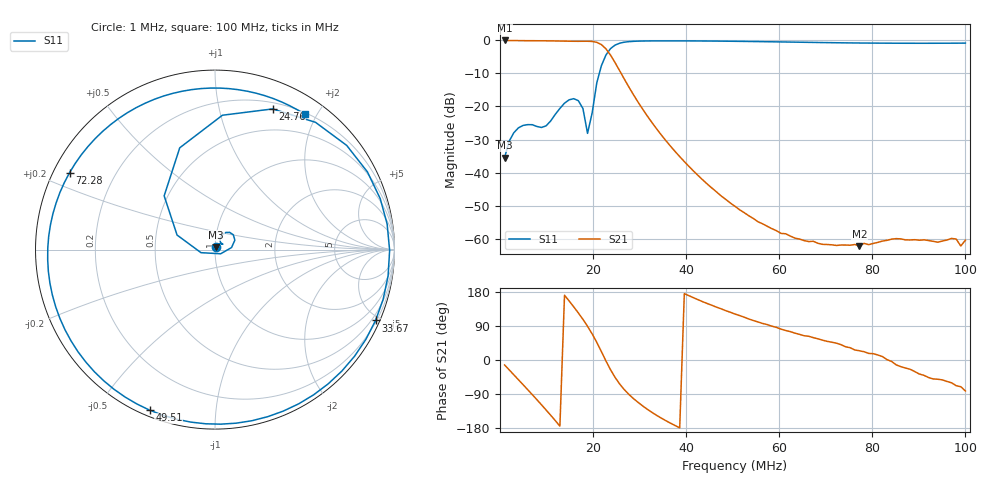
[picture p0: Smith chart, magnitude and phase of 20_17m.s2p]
# HZ S RI R 50
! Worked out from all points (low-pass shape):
!   101 points, 1 MHz to 100 MHz, reference 50 ohm
!   highest |S21| = -0.06 dB at 1 MHz (marker M1); lowest = -62.2 dB at 77.23 MHz (marker M2)
!   |S21| within 3 dB of the highest: start of sweep to 23.02 MHz
!   lowest |S11| = -35.4 dB at 1 MHz (marker M3), VSWR 1.03, Z = 50.7 + j1.56 ohm
!   |S11| at or under -10 dB: start of sweep to 21.35 MHz
!   S12 and S22 are empty: the file has one direction only
!   S11 on the Smith chart (normalised r, x): 1 MHz: 1.01, +0.03; 24.76 MHz: 0.26, +1.46; 33.67 MHz: 0.26, -4.73; 49.51 MHz: 0.03, -0.67; 72.28 MHz: 0.05, +0.25; 100 MHz: 0.22, +1.84
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1000000  0.0071 0.0154  0.9665 -0.2262  0 0  0 0
4960000  0.0392 0.0337  0.4158 -0.8935  0 0  0 0
7930000  0.0402 0.0295  -0.2487 -0.9502  0 0  0 0
1.288e7  0.042 0.0835  -0.968 -0.0946  0 0  0 0
1.486e7  0.0816 0.096  -0.8824 0.3958  0 0  0 0
1.783e7  0.0923 0.0116  -0.2854 0.9223  0 0  0 0
1.882e7  0.0316 -0.0233  0.0184 0.9656  0 0  0 0
2.179e7  -0.2833 0.2995  0.796 0.3259  0 0  0 0
2.377e7  0.0412 0.7486  0.5346 -0.2605  0 0  0 0
2.476e7  0.321 0.7838  0.3143 -0.3305  0 0  0 0
2.872e7  0.9207 0.2837  -0.0315 -0.1457  0 0  0 0
3.367e7  0.8946 -0.3947  -0.0381 -0.0256  0 0  0 0
3.466e7  0.8404 -0.5004  -0.0333 -0.0167  0 0  0 0
4.159e7  0.2931 -0.931  -0.0102 0.00286  0 0  0 0
4.951e7  -0.3645 -0.8944  -0.00204 0.00282  0 0  0 0
5.05e7  -0.4345 -0.8605  -0.00161 0.00266  0 0  0 0
5.941e7  -0.8643 -0.3831  9.35e-05 0.00133  0 0  0 0
6.733e7  -0.9169 0.1373  0.000474 0.00079  0 0  0 0
7.228e7  -0.8106 0.4279  0.000569 0.000558  0 0  0 0
7.723e7  -0.6253 0.6593  0.000708 0.000321  0 0  0 0
8.416e7  -0.2872 0.8555  0.00099 -6.84e-05  0 0  0 0
1e8  0.4992 0.7549  0.000138 -0.000947  0 0  0 0
